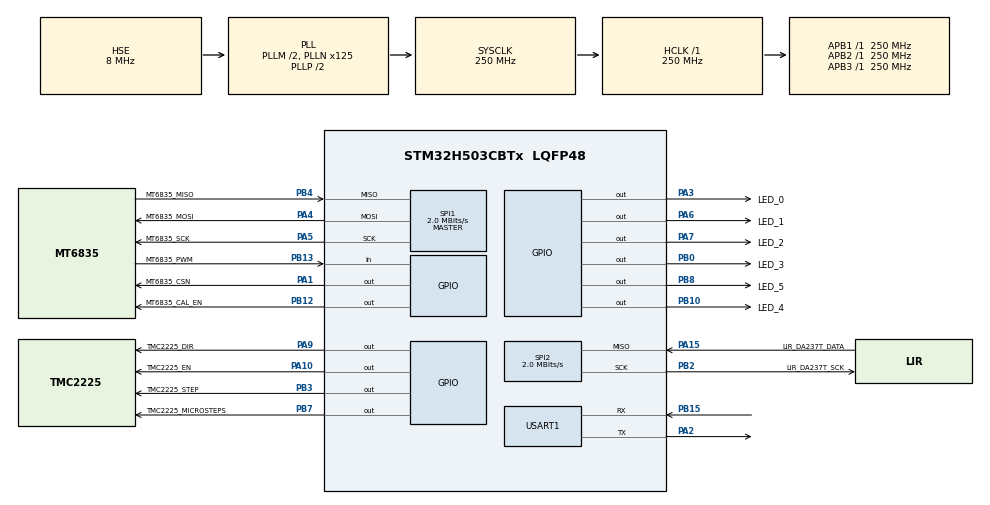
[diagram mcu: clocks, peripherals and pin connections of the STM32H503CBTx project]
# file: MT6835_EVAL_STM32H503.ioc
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BOOTPATH.BootPathName=LEGACY
BOOTPATH.UserSelectedBootPath=LEGACY
Mcu.Family=STM32H5
Mcu.Name=STM32H503CBTx
Mcu.Package=LQFP48
NVIC.PriorityGroup=NVIC_PRIORITYGROUP_4
NVIC.TIM2_IRQn=true\:0\:0\:false\:false\:true\:true\:true\:true
PA1.GPIO_Label=MT6835_CSN
PA1.PinState=GPIO_PIN_SET
PA1.Signal=GPIO_Output
PA10.GPIO_Label=TMC2225_EN
PA10.Signal=GPIO_Output
PA13(JTMS/SWDIO).Mode=Serial_Wire
PA13(JTMS/SWDIO).Signal=DEBUG_JTMS-SWDIO
PA14(JTCK/SWCLK).Mode=Serial_Wire
PA14(JTCK/SWCLK).Signal=DEBUG_JTCK-SWCLK
PA15(JTDI).GPIO_Label=LIR_DA237T_DATA
PA15(JTDI).Mode=RX_Only_Simplex_Unidirect_Master
PA15(JTDI).Signal=SPI2_MISO
PA2.Mode=Asynchronous
PA2.Signal=USART1_TX
PA3.GPIO_Label=LED_0
PA3.Signal=GPIO_Output
PA4.GPIO_Label=MT6835_MOSI
PA4.Mode=Full_Duplex_Master
PA4.Signal=SPI1_MOSI
PA5.GPIO_Label=MT6835_SCK
PA5.Mode=Full_Duplex_Master
PA5.Signal=SPI1_SCK
PA6.GPIO_Label=LED_1
PA6.Signal=GPIO_Output
PA7.GPIO_Label=LED_2
PA7.Signal=GPIO_Output
PA9.GPIO_Label=TMC2225_DIR
PA9.Signal=GPIO_Output
PB0.GPIO_Label=LED_3
PB0.Signal=GPIO_Output
PB10.GPIO_Label=LED_4
PB10.Signal=GPIO_Output
PB12.GPIO_Label=MT6835_CAL_EN
PB12.Signal=GPIO_Output
PB13.GPIO_Label=MT6835_PWM
PB13.Signal=GPIO_Input
PB15.Mode=Asynchronous
PB15.Signal=USART1_RX
PB2.GPIO_Label=LIR_DA237T_SCK
PB2.Mode=RX_Only_Simplex_Unidirect_Master
PB2.Signal=SPI2_SCK
PB3(JTDO/TRACESWO).GPIO_Label=TMC2225_STEP
PB3(JTDO/TRACESWO).Signal=GPIO_Output
PB4(NJTRST).GPIO_Label=MT6835_MISO
PB4(NJTRST).Mode=Full_Duplex_Master
PB4(NJTRST).Signal=SPI1_MISO
PB7.GPIO_Label=TMC2225_MICROSTEPS
PB7.Signal=GPIO_Output
PB8.GPIO_Label=LED_5
PB8.Signal=GPIO_Output
PC14-OSC32_IN(OSC32_IN).Mode=LSE-External-Oscillator
PC14-OSC32_IN(OSC32_IN).Signal=RCC_OSC32_IN
PC15-OSC32_OUT(OSC32_OUT).Mode=LSE-External-Oscillator
PC15-OSC32_OUT(OSC32_OUT).Signal=RCC_OSC32_OUT
PH0-OSC_IN(PH0).Mode=HSE-External-Oscillator
PH0-OSC_IN(PH0).Signal=RCC_OSC_IN
PH1-OSC_OUT(PH1).Mode=HSE-External-Oscillator
PH1-OSC_OUT(PH1).Signal=RCC_OSC_OUT
ProjectManager.HeapSize=0x200
ProjectManager.StackSize=0x400
ProjectManager.TargetToolchain=CMake
RCC.ADCFreq_Value=250000000
RCC.AHBFreq_Value=250000000
RCC.APB1Freq_Value=250000000
RCC.APB1TimFreq_Value=250000000
RCC.APB2Freq_Value=250000000
RCC.APB2TimFreq_Value=250000000
RCC.APB3Freq_Value=250000000
RCC.CSI_VALUE=4000000
RCC.CortexFreq_Value=250000000
RCC.EPOD_VALUE=8000000
RCC.HCLKFreq_Value=250000000
RCC.HSE_VALUE=8000000
RCC.HSI48_VALUE=48000000
RCC.HSI_VALUE=64000000
RCC.LSIRC_VALUE=32000
RCC.PLL2M=2
RCC.PLL2N=40
RCC.PLL2P=40
RCC.PLL2Source=RCC_PLL2_SOURCE_HSE
RCC.PLLM=2
RCC.PLLN=125
RCC.PLLSourceVirtual=RCC_PLL1_SOURCE_HSE
RCC.RTCClockSelection=RCC_RTCCLKSOURCE_LSE
RCC.SPI1CLockSelection=RCC_SPI1CLKSOURCE_PLL2P
RCC.SPI2CLockSelection=RCC_SPI2CLKSOURCE_PLL2P
RCC.SYSCLKFreq_VALUE=250000000
RCC.SYSCLKSource=RCC_SYSCLKSOURCE_PLLCLK
RCC.USBFreq_Value=48000000
RCC.VCOOutputFreq_Value=500000000
SPI1.BaudRatePrescaler=SPI_BAUDRATEPRESCALER_2
SPI1.CLKPhase=SPI_PHASE_2EDGE
SPI1.CLKPolarity=SPI_POLARITY_HIGH
SPI1.CalculateBaudRate=2.0 MBits/s
SPI1.DataSize=SPI_DATASIZE_8BIT
SPI1.Direction=SPI_DIRECTION_2LINES
SPI1.Mode=SPI_MODE_MASTER
SPI1.VirtualType=VM_MASTER
SPI2.CLKPhase=SPI_PHASE_1EDGE
SPI2.CLKPolarity=SPI_POLARITY_LOW
SPI2.CalculateBaudRate=2.0 MBits/s
SPI2.DataSize=SPI_DATASIZE_32BIT
SPI2.Direction=SPI_DIRECTION_2LINES_RXONLY
SPI2.FirstBit=SPI_FIRSTBIT_MSB
SPI2.Mode=SPI_MODE_MASTER
SPI2.VirtualType=VM_MASTER
TIM1.Prescaler=249
TIM2.PeriodNoDither=1
TIM3.AutoReloadPreload=TIM_AUTORELOAD_PRELOAD_ENABLE
TIM3.PeriodNoDither=49
TIM3.Prescaler=0
TIM3.TIM_MasterOutputTrigger=TIM_TRGO_RESET
TIM3.TIM_MasterSlaveMode=TIM_MASTERSLAVEMODE_DISABLE
USART1.VirtualMode-Asynchronous=VM_ASYNC
VP_BOOTPATH_VS_BOOTPATH.Mode=BP_Activate
VP_CORTEX_M33_NS_VS_Hclk.Mode=Hclk_Mode
VP_ICACHE_VS_ICACHE.Mode=DefaultMode
VP_MEMORYMAP_VS_MEMORYMAP.Mode=CurAppReg
VP_PWR_VS_LPOM.Mode=PowerOptimisation
VP_PWR_VS_SECSignals.Mode=Security/Privilege
VP_TIM1_VS_ClockSourceINT.Mode=Internal
VP_TIM2_VS_ClockSourceINT.Mode=Internal
VP_TIM3_VS_ClockSourceINT.Mode=Internal
board=custom

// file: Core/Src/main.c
/* USER CODE BEGIN Header */
/**
 ******************************************************************************
 * @file           : main.c
 * @brief          : Main program body
 ******************************************************************************
 */
/* USER CODE END Header */
#include "main.h"
#include "gpio.h"
#include "icache.h"
#include "spi.h"
#include "tim.h"
#include "usart.h"

/* USER CODE BEGIN Includes */
#include "encoders.h"
#include "motor_control.h"
#include "stm32h5xx_hal.h"
#include "uartcmd_handler.h"

/* USER CODE END Includes */

/* USER CODE BEGIN PV */
#define UART_RX_BUFFER_SIZE 512
char uart_rx_buffer[UART_RX_BUFFER_SIZE] = {0};
uint32_t uart_rx_index = 0;
bool uart_command_ready = false;
uint32_t led_blink_counter = 0;
bool homed_flag_for_led = false;
/* USER CODE END PV */

void SystemClock_Config(void);
void PeriphCommonClock_Config(void);

int main(void) {

  /* MCU Configuration--------------------------------------------------------*/

  /* Reset of all peripherals, Initializes the Flash interface and the Systick.
   */
  HAL_Init();

  /* Configure the system clock */
  SystemClock_Config();

  /* Configure the peripherals common clocks */
  PeriphCommonClock_Config();

  /* Initialize all configured peripherals */
  MX_GPIO_Init();
  MX_SPI1_Init();
  MX_TIM2_Init();
  MX_TIM3_Init();
  MX_USART1_UART_Init();
  MX_ICACHE_Init();
  MX_SPI2_Init();
  MX_TIM1_Init();
  /* USER CODE BEGIN 2 */
  ENC_Init();
  MC_Init();

  HAL_GPIO_WritePin(LED_3_GPIO_Port, LED_3_Pin, GPIO_PIN_RESET);
  HAL_GPIO_WritePin(LED_5_GPIO_Port, LED_5_Pin, GPIO_PIN_RESET);
  HAL_GPIO_WritePin(MT6835_CAL_EN_GPIO_Port, MT6835_CAL_EN_Pin, GPIO_PIN_RESET);
  HAL_GPIO_WritePin(LED_2_GPIO_Port, LED_2_Pin, GPIO_PIN_RESET);

  HAL_UART_Transmit(&huart1, (uint8_t *)"System Ready\n", 38, HAL_MAX_DELAY);
  /* USER CODE END 2 */

  /* Infinite loop */
  while (1) {

    /* USER CODE BEGIN 3 */
    if (HAL_GPIO_ReadPin(TMC2225_EN_GPIO_Port, TMC2225_EN_Pin) ==
        GPIO_PIN_RESET) {
      HAL_GPIO_WritePin(LED_4_GPIO_Port, LED_4_Pin,
                        GPIO_PIN_SET); // Motor enabled
    } else {
      HAL_GPIO_WritePin(LED_4_GPIO_Port, LED_4_Pin, GPIO_PIN_RESET);
    }

    if (homed_flag_for_led) {
      HAL_GPIO_WritePin(LED_0_GPIO_Port, LED_0_Pin, GPIO_PIN_SET); // Homed
    } else {
      HAL_GPIO_WritePin(LED_0_GPIO_Port, LED_0_Pin, GPIO_PIN_RESET);
    }

    led_blink_counter++;
    if (led_blink_counter >= 50000) {
      HAL_GPIO_TogglePin(LED_5_GPIO_Port, LED_5_Pin); // Slow blink
      led_blink_counter = 0;

      // Update LED 3 based on PWM Duty Cycle
      float pwm = ENC_GetMT6835PWMDutyCyclePercent();
      if (pwm > 95.0f) {
        HAL_GPIO_WritePin(LED_3_GPIO_Port, LED_3_Pin, GPIO_PIN_SET); // Solid ON
      } else if (pwm >= 25.0f && pwm <= 95.0f) {
        HAL_GPIO_TogglePin(LED_3_GPIO_Port, LED_3_Pin); // Blink
      } else {
        HAL_GPIO_WritePin(LED_3_GPIO_Port, LED_3_Pin, GPIO_PIN_RESET); // OFF
      }
    }

    if (HAL_GPIO_ReadPin(MT6835_CAL_EN_GPIO_Port, MT6835_CAL_EN_Pin) ==
        GPIO_PIN_SET) {
      HAL_GPIO_WritePin(LED_2_GPIO_Port, LED_2_Pin,
                        GPIO_PIN_SET); // MT6835 Cal enabled
    } else {
      HAL_GPIO_WritePin(LED_2_GPIO_Port, LED_2_Pin, GPIO_PIN_RESET);
    }

    uint8_t rx_char;
    if (HAL_UART_Receive(&huart1, &rx_char, 1, 0) == HAL_OK) {
      if (rx_char == '\n' || rx_char == '\r' ||
          uart_rx_index >= sizeof(uart_rx_buffer) - 1) {
        uart_rx_buffer[uart_rx_index] = '\0';
        if ((rx_char == '\n' || rx_char == '\r') && uart_rx_index > 0) {
          uart_command_ready = true;
        }
        uart_rx_index = 0;
      } else {
        uart_rx_buffer[uart_rx_index++] = rx_char;
      }
    }

    if (uart_command_ready) {
      UART_CMD_ProcessCommand(uart_rx_buffer);
      uart_command_ready = false;
      extern bool UART_CMD_GetHomedState(void);
      homed_flag_for_led = UART_CMD_GetHomedState();
    }
  }
  /* USER CODE END 3 */
}

void SystemClock_Config(void) {
  RCC_OscInitTypeDef RCC_OscInitStruct = {0};
  RCC_ClkInitTypeDef RCC_ClkInitStruct = {0};

  /** Configure the main internal regulator output voltage
   */
  __HAL_PWR_VOLTAGESCALING_CONFIG(PWR_REGULATOR_VOLTAGE_SCALE0);

  while (!__HAL_PWR_GET_FLAG(PWR_FLAG_VOSRDY)) {
  }

  /** Initializes the RCC Oscillators according to the specified parameters
   * in the RCC_OscInitTypeDef structure.
   */
  RCC_OscInitStruct.OscillatorType = RCC_OSCILLATORTYPE_HSE;
  RCC_OscInitStruct.HSEState = RCC_HSE_ON;
  RCC_OscInitStruct.PLL.PLLState = RCC_PLL_ON;
  RCC_OscInitStruct.PLL.PLLSource = RCC_PLL1_SOURCE_HSE;
  RCC_OscInitStruct.PLL.PLLM = 2;
  RCC_OscInitStruct.PLL.PLLN = 125;
  RCC_OscInitStruct.PLL.PLLP = 2;
  RCC_OscInitStruct.PLL.PLLQ = 2;
  RCC_OscInitStruct.PLL.PLLR = 2;
  RCC_OscInitStruct.PLL.PLLRGE = RCC_PLL1_VCIRANGE_2;
  RCC_OscInitStruct.PLL.PLLVCOSEL = RCC_PLL1_VCORANGE_WIDE;
  RCC_OscInitStruct.PLL.PLLFRACN = 0;
  if (HAL_RCC_OscConfig(&RCC_OscInitStruct) != HAL_OK) {
    Error_Handler();
  }

  /** Initializes the CPU, AHB and APB buses clocks
   */
  RCC_ClkInitStruct.ClockType = RCC_CLOCKTYPE_HCLK | RCC_CLOCKTYPE_SYSCLK |
                                RCC_CLOCKTYPE_PCLK1 | RCC_CLOCKTYPE_PCLK2 |
                                RCC_CLOCKTYPE_PCLK3;
  RCC_ClkInitStruct.SYSCLKSource = RCC_SYSCLKSOURCE_PLLCLK;
  RCC_ClkInitStruct.AHBCLKDivider = RCC_SYSCLK_DIV1;
  RCC_ClkInitStruct.APB1CLKDivider = RCC_HCLK_DIV1;
  RCC_ClkInitStruct.APB2CLKDivider = RCC_HCLK_DIV1;
  RCC_ClkInitStruct.APB3CLKDivider = RCC_HCLK_DIV1;

  if (HAL_RCC_ClockConfig(&RCC_ClkInitStruct, FLASH_LATENCY_5) != HAL_OK) {
    Error_Handler();
  }

  /** Configure the programming delay
   */
  __HAL_FLASH_SET_PROGRAM_DELAY(FLASH_PROGRAMMING_DELAY_2);
}

void PeriphCommonClock_Config(void) {
  RCC_PeriphCLKInitTypeDef PeriphClkInitStruct = {0};

  /** Initializes the peripherals clock
   */
  PeriphClkInitStruct.PeriphClockSelection =
      RCC_PERIPHCLK_SPI1 | RCC_PERIPHCLK_SPI2;
  PeriphClkInitStruct.PLL2.PLL2Source = RCC_PLL2_SOURCE_HSE;
  PeriphClkInitStruct.PLL2.PLL2M = 2;
  PeriphClkInitStruct.PLL2.PLL2N = 40;
  PeriphClkInitStruct.PLL2.PLL2P = 40;
  PeriphClkInitStruct.PLL2.PLL2Q = 2;
  PeriphClkInitStruct.PLL2.PLL2R = 2;
  PeriphClkInitStruct.PLL2.PLL2RGE = RCC_PLL2_VCIRANGE_2;
  PeriphClkInitStruct.PLL2.PLL2VCOSEL = RCC_PLL2_VCORANGE_WIDE;
  PeriphClkInitStruct.PLL2.PLL2FRACN = 0;
  PeriphClkInitStruct.PLL2.PLL2ClockOut = RCC_PLL2_DIVP;
  PeriphClkInitStruct.Spi1ClockSelection = RCC_SPI1CLKSOURCE_PLL2P;
  PeriphClkInitStruct.Spi2ClockSelection = RCC_SPI2CLKSOURCE_PLL2P;
  if (HAL_RCCEx_PeriphCLKConfig(&PeriphClkInitStruct) != HAL_OK) {
    Error_Handler();
  }
}

void Error_Handler(void) {
  __disable_irq();
  while (1) {
  }
}
#ifdef USE_FULL_ASSERT
/**
 * @brief  Reports the name of the source file and the source line number
 *         where the assert_param error has occurred.
 * @param  file: pointer to the source file name
 * @param  line: assert_param error line source number
 * @retval None
 */
void assert_failed(uint8_t *file, uint32_t line) {
  /* USER CODE BEGIN 6 */
  /* User can add his own implementation to report the file name and line
     number, ex: printf("Wrong parameters value: file %s on line %d\r\n", file,
     line) */
  /* USER CODE END 6 */
}
#endif /* USE_FULL_ASSERT */
